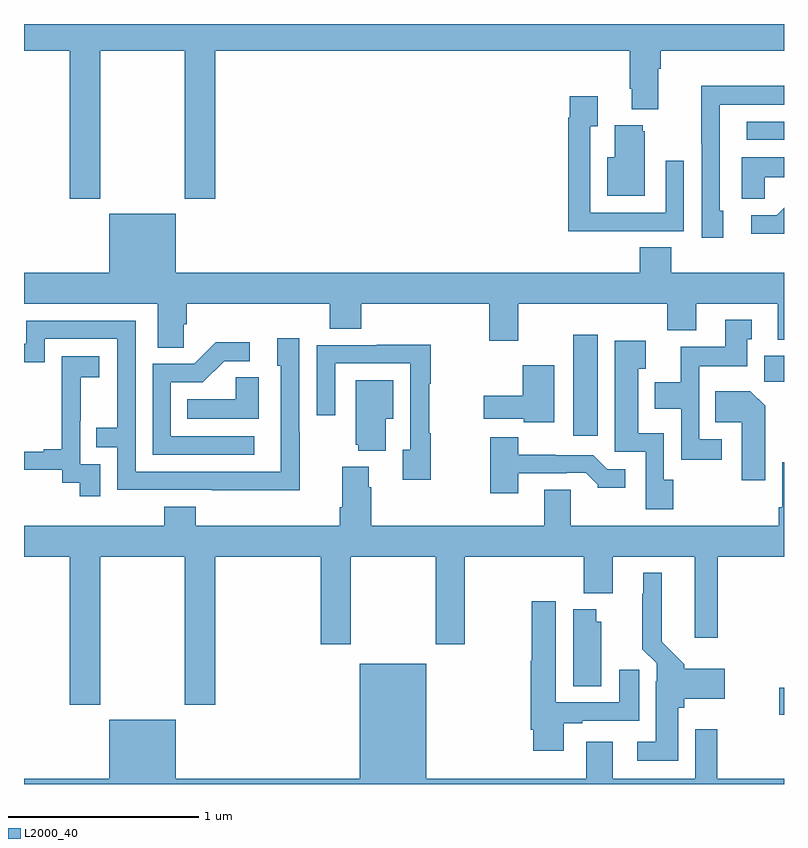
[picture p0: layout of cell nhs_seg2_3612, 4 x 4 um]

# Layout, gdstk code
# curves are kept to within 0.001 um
import gdstk
lib = gdstk.Library(unit=1e-6, precision=1e-09)
def R(c, l, rs):  # rectangles x0, y0, x1, y1
    for r in rs: c.add(gdstk.rectangle(r[:2], r[2:], *l))
def P(c, l, *ps):  # polygons
    for p in ps: c.add(gdstk.Polygon(p, *l))
L2000_40 = (2000, 40)

nhs_seg2_3612 = lib.new_cell('nhs_seg2_3612')
R(nhs_seg2_3612, L2000_40, [(304.974,620.164,305,620.306), (303.89,621.633,304.021,622.165), (304.895,621.916,305,622.054), (304.803,623.19,305,623.286)])
P(nhs_seg2_3612, L2000_40, [(301.401,623.66),(301.846,623.66),(301.846,622.881),(302.006,622.881),(302.006,623.66),(304.187,623.66),(304.187,623.458),(304.199,623.458),(304.199,623.351),(304.339,623.351),(304.339,623.564),(304.352,623.564),(304.352,623.66),(305,623.66),(305,623.8),(301,623.8),(301,623.66),(301.241,623.66),(301.241,622.881),(301.401,622.881)],
  [(304.681,622.818),(304.662,622.818),(304.662,623.376),(305,623.376),(305,623.474),(304.564,623.474),(304.564,623.167),(304.566,623.167),(304.566,622.674),(304.681,622.674)],
  [(304.157,622.71),(304.473,622.71),(304.473,623.08),(304.377,623.08),(304.377,622.806),(303.981,622.806),(303.981,623.263),(304.021,623.263),(304.021,623.419),(303.873,623.419),(303.873,623.306),(303.865,623.306),(303.865,622.709),(304.157,622.709)],
  [(304.267,623.235),(304.256,623.235),(304.256,623.266),(304.109,623.266),(304.109,623.098),(304.07,623.098),(304.07,622.895),(304.267,622.895)],
  [(304.899,622.994),(305,622.994),(305,623.098),(304.778,623.098),(304.778,622.879),(304.899,622.879)],
  [(305,622.833),(304.961,622.794),(304.827,622.794),(304.827,622.697),(305,622.697)],
  [(301.798,622.801),(301.448,622.801),(301.448,622.492),(301,622.492),(301,622.328),(301.703,622.328),(301.703,622.096),(301.842,622.096),(301.842,622.219),(301.856,622.219),(301.856,622.328),(302.609,622.328),(302.609,622.195),(302.774,622.195),(302.774,622.328),(303.449,622.328),(303.449,622.134),(303.601,622.134),(303.601,622.328),(304.385,622.328),(304.385,622.187),(304.537,622.187),(304.537,622.328),(304.967,622.328),(304.967,622.139),(305,622.139),(305,622.492),(304.406,622.492),(304.406,622.625),(304.241,622.625),(304.241,622.492),(301.798,622.492)],
  [(304.672,621.615),(304.554,621.615),(304.554,621.998),(304.807,621.998),(304.807,622.14),(304.831,622.14),(304.831,622.243),(304.691,622.243),(304.691,622.102),(304.457,622.102),(304.457,621.915),(304.319,621.915),(304.319,621.776),(304.458,621.776),(304.458,621.507),(304.672,621.507)],
  [(302.451,621.653),(302.448,621.653),(302.448,622.147),(302.333,622.147),(302.333,622.002),(302.352,622.002),(302.352,621.444),(301.587,621.444),(301.587,622.239),(301.013,622.239),(301.013,622.116),(301,622.116),(301,622.02),(301.11,622.02),(301.11,622.143),(301.491,622.143),(301.491,621.674),(301.381,621.674),(301.381,621.573),(301.491,621.573),(301.491,621.348),(301.987,621.348),(301.987,621.347),(302.451,621.347)],
  [(304.416,621.402),(304.368,621.402),(304.368,621.646),(304.234,621.646),(304.234,621.986),(304.273,621.986),(304.273,622.132),(304.109,622.132),(304.109,621.549),(304.272,621.549),(304.272,621.246),(304.416,621.246)],
  [(302.212,621.63),(301.773,621.63),(301.773,621.915),(301.942,621.915),(302.053,622.026),(302.188,622.026),(302.188,622.124),(302.009,622.124),(301.896,622.011),(301.677,622.011),(301.677,621.534),(302.212,621.534)],
  [(303.142,621.646),(303.134,621.646),(303.134,621.907),(303.142,621.907),(303.142,622.112),(302.857,622.112),(302.857,622.11),(302.541,622.11),(302.541,621.741),(302.637,621.741),(302.637,622.014),(303.033,622.014),(303.033,621.558),(302.993,621.558),(302.993,621.402),(303.142,621.402)],
  [(301.401,621.483),(301.296,621.483),(301.296,621.713),(301.298,621.713),(301.298,621.941),(301.396,621.941),(301.396,622.051),(301.198,622.051),(301.198,621.845),(301.199,621.845),(301.199,621.562),(301.103,621.562),(301.103,621.549),(301,621.549),(301,621.453),(301.2,621.453),(301.2,621.385),(301.293,621.385),(301.293,621.315),(301.401,621.315)],
  [(303.79,622.003),(303.626,622.003),(303.626,621.844),(303.42,621.844),(303.42,621.722),(303.63,621.722),(303.63,621.704),(303.79,621.704)],
  [(302.236,621.941),(302.115,621.941),(302.115,621.826),(301.858,621.826),(301.858,621.722),(302.236,621.722)],
  [(302.905,621.722),(302.944,621.722),(302.944,621.925),(302.747,621.925),(302.747,621.585),(302.759,621.585),(302.759,621.554),(302.905,621.554)],
  [(304.9,621.79),(304.822,621.868),(304.639,621.868),(304.639,621.704),(304.778,621.704),(304.778,621.399),(304.9,621.399)],
  [(303.601,621.435),(303.857,621.435),(303.857,621.438),(303.956,621.438),(304.02,621.374),(304.02,621.359),(304.165,621.359),(304.165,621.456),(304.071,621.456),(303.996,621.531),(303.601,621.532),(303.601,621.625),(303.454,621.625),(303.454,621.33),(303.601,621.33)],
  [(301.904,621.259),(301.739,621.259),(301.739,621.16),(301,621.16),(301,620.996),(301.241,620.996),(301.241,620.217),(301.401,620.217),(301.401,620.996),(301.846,620.996),(301.846,620.217),(302.006,620.217),(302.006,620.996),(302.561,620.996),(302.561,620.535),(302.721,620.535),(302.721,620.996),(303.166,620.996),(303.166,620.535),(303.321,620.535),(303.321,620.996),(303.947,620.996),(303.947,620.804),(304.099,620.804),(304.099,620.996),(304.529,620.996),(304.529,620.571),(304.652,620.571),(304.652,620.996),(305,620.996),(305,621.493),(304.992,621.493),(304.992,621.256),(304.972,621.256),(304.972,621.16),(303.877,621.16),(303.877,621.35),(303.737,621.35),(303.737,621.16),(302.828,621.16),(302.828,621.362),(302.815,621.362),(302.815,621.469),(302.675,621.469),(302.675,621.256),(302.663,621.256),(302.663,621.16),(301.904,621.16)],
  [(304.444,620.202),(304.475,620.202),(304.475,620.249),(304.687,620.249),(304.687,620.407),(304.475,620.407),(304.475,620.43),(304.357,620.548),(304.357,620.911),(304.259,620.911),(304.259,620.801),(304.255,620.801),(304.255,620.51),(304.329,620.436),(304.329,620.342),(304.325,620.342),(304.325,620.023),(304.227,620.023),(304.227,619.922),(304.444,619.922)],
  [(303.841,620.121),(303.937,620.121),(303.937,620.133),(304.237,620.133),(304.237,620.401),(304.133,620.401),(304.133,620.229),(303.799,620.229),(303.799,620.761),(303.673,620.761),(303.673,620.448),(303.668,620.448),(303.668,620.086),(303.68,620.086),(303.68,619.974),(303.841,619.974)],
  [(304.039,620.655),(304.012,620.655),(304.012,620.719),(303.89,620.719),(303.89,620.314),(304.039,620.314)],
  [(305,619.828),(304.649,619.828),(304.649,620.089),(304.533,620.089),(304.533,619.828),(304.099,619.828),(304.099,620.023),(303.959,620.023),(303.959,619.828),(303.118,619.828),(303.118,620.434),(302.768,620.434),(302.768,619.828),(301.798,619.828),(301.798,620.137),(301.448,620.137),(301.448,619.828),(301,619.828),(301,619.8),(305,619.8)])

lib.write_gds('nhs_seg2_3612.gds')
